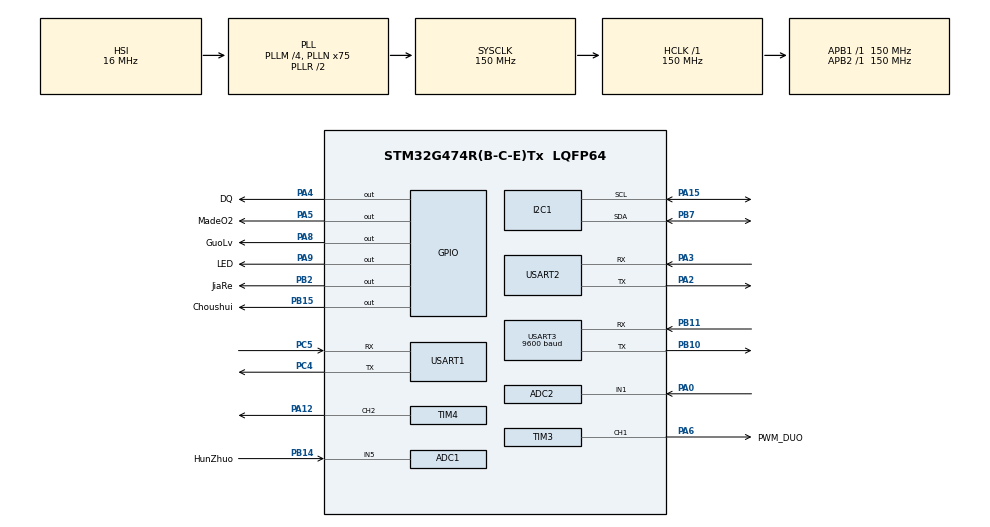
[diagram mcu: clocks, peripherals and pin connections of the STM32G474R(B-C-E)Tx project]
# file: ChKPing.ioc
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ADC1.Channel-0\#ChannelRegularConversion=ADC_CHANNEL_5
ADC1.NbrOfConversionFlag=1
ADC1.OffsetNumber-0\#ChannelRegularConversion=ADC_OFFSET_NONE
ADC1.Rank-0\#ChannelRegularConversion=1
ADC1.SamplingTime-0\#ChannelRegularConversion=ADC_SAMPLETIME_2CYCLES_5
ADC1.master=1
ADC2.Channel-0\#ChannelRegularConversion=ADC_CHANNEL_1
ADC2.NbrOfConversionFlag=1
ADC2.OffsetNumber-0\#ChannelRegularConversion=ADC_OFFSET_NONE
ADC2.Rank-0\#ChannelRegularConversion=1
ADC2.SamplingTime-0\#ChannelRegularConversion=ADC_SAMPLETIME_2CYCLES_5
Dma.Request0=TIM4_CH2
Dma.Request1=USART3_RX
Dma.Request2=USART3_TX
Dma.TIM4_CH2.0.Direction=DMA_MEMORY_TO_PERIPH
Dma.TIM4_CH2.0.EventEnable=DISABLE
Dma.TIM4_CH2.0.Instance=DMA1_Channel1
Dma.TIM4_CH2.0.MemDataAlignment=DMA_MDATAALIGN_HALFWORD
Dma.TIM4_CH2.0.MemInc=DMA_MINC_ENABLE
Dma.TIM4_CH2.0.Mode=DMA_NORMAL
Dma.TIM4_CH2.0.PeriphDataAlignment=DMA_PDATAALIGN_HALFWORD
Dma.TIM4_CH2.0.PeriphInc=DMA_PINC_DISABLE
Dma.TIM4_CH2.0.Polarity=HAL_DMAMUX_REQ_GEN_RISING
Dma.TIM4_CH2.0.Priority=DMA_PRIORITY_LOW
Dma.TIM4_CH2.0.RequestNumber=1
Dma.TIM4_CH2.0.SignalID=NONE
Dma.TIM4_CH2.0.SyncEnable=DISABLE
Dma.TIM4_CH2.0.SyncPolarity=HAL_DMAMUX_SYNC_NO_EVENT
Dma.TIM4_CH2.0.SyncRequestNumber=1
Dma.TIM4_CH2.0.SyncSignalID=NONE
Dma.USART3_RX.1.Direction=DMA_PERIPH_TO_MEMORY
Dma.USART3_RX.1.EventEnable=DISABLE
Dma.USART3_RX.1.Instance=DMA1_Channel5
Dma.USART3_RX.1.MemDataAlignment=DMA_MDATAALIGN_BYTE
Dma.USART3_RX.1.MemInc=DMA_MINC_ENABLE
Dma.USART3_RX.1.Mode=DMA_NORMAL
Dma.USART3_RX.1.PeriphDataAlignment=DMA_PDATAALIGN_BYTE
Dma.USART3_RX.1.PeriphInc=DMA_PINC_DISABLE
Dma.USART3_RX.1.Polarity=HAL_DMAMUX_REQ_GEN_RISING
Dma.USART3_RX.1.Priority=DMA_PRIORITY_LOW
Dma.USART3_RX.1.RequestNumber=1
Dma.USART3_RX.1.SignalID=NONE
Dma.USART3_RX.1.SyncEnable=DISABLE
Dma.USART3_RX.1.SyncPolarity=HAL_DMAMUX_SYNC_NO_EVENT
Dma.USART3_RX.1.SyncRequestNumber=1
Dma.USART3_RX.1.SyncSignalID=NONE
Dma.USART3_TX.2.Direction=DMA_MEMORY_TO_PERIPH
Dma.USART3_TX.2.EventEnable=DISABLE
Dma.USART3_TX.2.Instance=DMA1_Channel6
Dma.USART3_TX.2.MemDataAlignment=DMA_MDATAALIGN_BYTE
Dma.USART3_TX.2.MemInc=DMA_MINC_ENABLE
Dma.USART3_TX.2.Mode=DMA_NORMAL
Dma.USART3_TX.2.PeriphDataAlignment=DMA_PDATAALIGN_BYTE
Dma.USART3_TX.2.PeriphInc=DMA_PINC_DISABLE
Dma.USART3_TX.2.Polarity=HAL_DMAMUX_REQ_GEN_RISING
Dma.USART3_TX.2.Priority=DMA_PRIORITY_LOW
Dma.USART3_TX.2.RequestNumber=1
Dma.USART3_TX.2.SignalID=NONE
Dma.USART3_TX.2.SyncEnable=DISABLE
Dma.USART3_TX.2.SyncPolarity=HAL_DMAMUX_SYNC_NO_EVENT
Dma.USART3_TX.2.SyncRequestNumber=1
Dma.USART3_TX.2.SyncSignalID=NONE
I2C1.Timing=0x20C0EDFF
Mcu.Family=STM32G4
Mcu.Name=STM32G474R(B-C-E)Tx
Mcu.Package=LQFP64
NVIC.DMA1_Channel1_IRQn=true\:0\:0\:false\:false\:true\:false\:true\:true
NVIC.DMA1_Channel5_IRQn=true\:0\:0\:false\:false\:true\:false\:true\:true
NVIC.DMA1_Channel6_IRQn=true\:0\:0\:false\:false\:true\:false\:true\:true
NVIC.PriorityGroup=NVIC_PRIORITYGROUP_4
NVIC.TIM2_IRQn=true\:0\:0\:false\:false\:true\:true\:true\:true
NVIC.USART1_IRQn=true\:3\:0\:true\:false\:true\:true\:true\:true
NVIC.USART2_IRQn=true\:5\:0\:true\:false\:true\:true\:true\:true
NVIC.USART3_IRQn=true\:4\:0\:true\:false\:true\:true\:true\:true
PA0.Mode=IN1-Single-Ended
PA0.Signal=ADC2_IN1
PA12.Signal=S_TIM4_CH2
PA13.Mode=Serial_Wire
PA13.Signal=SYS_JTMS-SWDIO
PA14.Mode=Serial_Wire
PA14.Signal=SYS_JTCK-SWCLK
PA15.Mode=I2C
PA15.Signal=I2C1_SCL
PA2.GPIO_PuPd=GPIO_NOPULL
PA2.Mode=Asynchronous
PA2.Signal=USART2_TX
PA3.Mode=Asynchronous
PA3.Signal=USART2_RX
PA4.GPIO_Label=DQ
PA4.Signal=GPIO_Output
PA5.GPIO_Label=MadeO2
PA5.Signal=GPIO_Output
PA6.GPIO_Label=PWM_DUO
PA6.Signal=S_TIM3_CH1
PA8.GPIO_Label=GuoLv
PA8.Signal=GPIO_Output
PA9.GPIO_Label=LED
PA9.Signal=GPIO_Output
PB10.GPIO_PuPd=GPIO_PULLUP
PB10.Mode=Asynchronous
PB10.Signal=USART3_TX
PB11.GPIO_PuPd=GPIO_PULLUP
PB11.Mode=Asynchronous
PB11.Signal=USART3_RX
PB14.GPIO_Label=HunZhuo
PB14.Mode=IN5-Single-Ended
PB14.Signal=ADC1_IN5
PB15.GPIO_Label=Choushui
PB15.Signal=GPIO_Output
PB2.GPIO_Label=JiaRe
PB2.Signal=GPIO_Output
PB7.Mode=I2C
PB7.Signal=I2C1_SDA
PC4.GPIO_PuPd=GPIO_PULLUP
PC4.Mode=Asynchronous
PC4.Signal=USART1_TX
PC5.GPIO_PuPd=GPIO_PULLUP
PC5.Mode=Asynchronous
PC5.Signal=USART1_RX
PF0-OSC_IN.Mode=HSE-External-Oscillator
PF0-OSC_IN.Signal=RCC_OSC_IN
PF1-OSC_OUT.Mode=HSE-External-Oscillator
PF1-OSC_OUT.Signal=RCC_OSC_OUT
ProjectManager.HeapSize=0x200
ProjectManager.StackSize=0x400
ProjectManager.TargetToolchain=MDK-ARM V5.32
RCC.ADC12Freq_Value=150000000
RCC.ADC345Freq_Value=150000000
RCC.AHBFreq_Value=150000000
RCC.APB1Freq_Value=150000000
RCC.APB1TimFreq_Value=150000000
RCC.APB2Freq_Value=150000000
RCC.APB2TimFreq_Value=150000000
RCC.CortexFreq_Value=150000000
RCC.EXTERNAL_CLOCK_VALUE=12288000
RCC.HCLKFreq_Value=150000000
RCC.HSE_VALUE=8000000
RCC.HSI48_VALUE=48000000
RCC.HSI_VALUE=16000000
RCC.LSE_VALUE=32768
RCC.PLLM=RCC_PLLM_DIV4
RCC.PLLN=75
RCC.SYSCLKFreq_VALUE=150000000
RCC.SYSCLKSource=RCC_SYSCLKSOURCE_PLLCLK
RCC.USBFreq_Value=150000000
RCC.VCOOutputFreq_Value=300000000
SH.S_TIM3_CH1.0=TIM3_CH1,PWM Generation1 CH1
SH.S_TIM4_CH2.0=TIM4_CH2,PWM Generation2 CH2
TIM2.PeriodNoDither=999
TIM2.Prescaler=149
TIM3.Channel-PWM\ Generation1\ CH1=TIM_CHANNEL_1
TIM3.PeriodNoDither=1999
TIM3.Prescaler=1499
TIM4.Channel-PWM\ Generation2\ CH2=TIM_CHANNEL_2
TIM4.PeriodNoDither=189
USART1.VirtualMode-Asynchronous=VM_ASYNC
USART2.VirtualMode-Asynchronous=VM_ASYNC
USART3.BaudRate=9600
USART3.VirtualMode-Asynchronous=VM_ASYNC
VP_SYS_VS_DBSignals.Mode=DisableDeadBatterySignals
VP_TIM2_VS_ClockSourceINT.Mode=Internal
VP_TIM3_VS_ClockSourceINT.Mode=Internal
VP_TIM4_VS_ClockSourceINT.Mode=Internal
board=custom

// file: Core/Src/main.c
/* USER CODE BEGIN Header */
/**
  ******************************************************************************
  * @file           : main.c
  * @brief          : Main program body
  ******************************************************************************
  * @attention
  *
  * Copyright (c) 2023 STMicroelectronics.
  * All rights reserved.
  *
  * This software is licensed under terms that can be found in the LICENSE file
  * in the root directory of this software component.
  * If no LICENSE file comes with this software, it is provided AS-IS.
  *
  ******************************************************************************
  */
/* USER CODE END Header */
#include "main.h"
#include "adc.h"
#include "dma.h"
#include "i2c.h"
#include "tim.h"
#include "usart.h"
#include "gpio.h"

/* USER CODE BEGIN Includes */
#include <stdio.h>
#include "my_printf.h"
#include "uart_task.h"
#include "ds18b20.h"
#include "datatask.h"
#include "bh1750.h"
#include "sg90.h"
#include "lanya.h"
#include "ws2812b.h"
/* USER CODE END Includes */

void SystemClock_Config(void);

/* USER CODE BEGIN 0 */
int fputc(int ch, FILE *f)

{

  HAL_UART_Transmit(&huart1, (uint8_t *)&ch, 1, 0xffff);

  return ch;

}
/* USER CODE END 0 */

int main(void)
{

  /* MCU Configuration--------------------------------------------------------*/

  /* Reset of all peripherals, Initializes the Flash interface and the Systick. */
  HAL_Init();

  /* Configure the system clock */
  SystemClock_Config();

  /* Initialize all configured peripherals */
  MX_GPIO_Init();
  MX_DMA_Init();
  MX_TIM2_Init();
  MX_USART1_UART_Init();
  MX_USART2_UART_Init();
  MX_I2C1_Init();
  MX_TIM3_Init();
  MX_ADC1_Init();
  MX_TIM4_Init();
  MX_USART3_UART_Init();
  MX_ADC2_Init();
  /* USER CODE BEGIN 2 */
	HAL_TIM_Base_Start_IT(&htim2);//使能定时器
  HAL_TIM_PWM_Start(&htim3,TIM_CHANNEL_1);//***定时器初始化
	HAL_UART_Receive_IT(&huart1, &usart_screen, 1);//接受串口屏
  /* USER CODE END 2 */

  /* Infinite loop */
  /* USER CODE BEGIN WHILE */

	uart2_printf("2222开始调试咯DSAD！！\r\n");
	uart3_printf("333‐\r\n");
	//关闭喂食
	SG90_Rotate(150);
  while (1)
  {
		DataTask();
    /* USER CODE END WHILE */

  }
}

void SystemClock_Config(void)
{
  RCC_OscInitTypeDef RCC_OscInitStruct = {0};
  RCC_ClkInitTypeDef RCC_ClkInitStruct = {0};

  /** Configure the main internal regulator output voltage
  */
  HAL_PWREx_ControlVoltageScaling(PWR_REGULATOR_VOLTAGE_SCALE1);

  /** Initializes the RCC Oscillators according to the specified parameters
  * in the RCC_OscInitTypeDef structure.
  */
  RCC_OscInitStruct.OscillatorType = RCC_OSCILLATORTYPE_HSI;
  RCC_OscInitStruct.HSIState = RCC_HSI_ON;
  RCC_OscInitStruct.HSICalibrationValue = RCC_HSICALIBRATION_DEFAULT;
  RCC_OscInitStruct.PLL.PLLState = RCC_PLL_ON;
  RCC_OscInitStruct.PLL.PLLSource = RCC_PLLSOURCE_HSI;
  RCC_OscInitStruct.PLL.PLLM = RCC_PLLM_DIV4;
  RCC_OscInitStruct.PLL.PLLN = 75;
  RCC_OscInitStruct.PLL.PLLP = RCC_PLLP_DIV2;
  RCC_OscInitStruct.PLL.PLLQ = RCC_PLLQ_DIV2;
  RCC_OscInitStruct.PLL.PLLR = RCC_PLLR_DIV2;
  if (HAL_RCC_OscConfig(&RCC_OscInitStruct) != HAL_OK)
  {
    Error_Handler();
  }

  /** Initializes the CPU, AHB and APB buses clocks
  */
  RCC_ClkInitStruct.ClockType = RCC_CLOCKTYPE_HCLK|RCC_CLOCKTYPE_SYSCLK
                              |RCC_CLOCKTYPE_PCLK1|RCC_CLOCKTYPE_PCLK2;
  RCC_ClkInitStruct.SYSCLKSource = RCC_SYSCLKSOURCE_PLLCLK;
  RCC_ClkInitStruct.AHBCLKDivider = RCC_SYSCLK_DIV1;
  RCC_ClkInitStruct.APB1CLKDivider = RCC_HCLK_DIV1;
  RCC_ClkInitStruct.APB2CLKDivider = RCC_HCLK_DIV1;

  if (HAL_RCC_ClockConfig(&RCC_ClkInitStruct, FLASH_LATENCY_4) != HAL_OK)
  {
    Error_Handler();
  }
}

void Error_Handler(void)
{
  __disable_irq();
  while (1)
  {
  }
}
